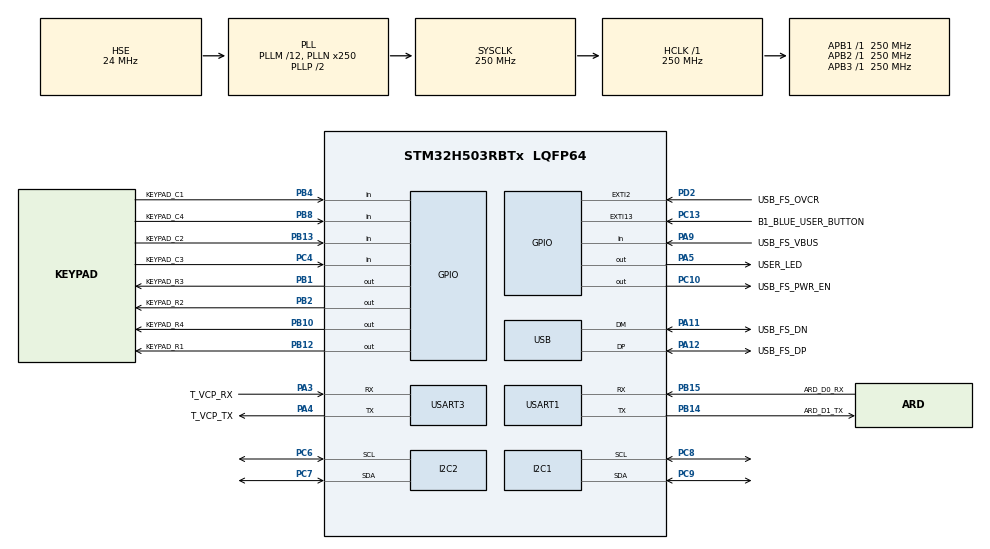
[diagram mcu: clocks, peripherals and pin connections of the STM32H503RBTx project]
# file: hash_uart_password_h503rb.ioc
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BOOTPATH.BootPathName=LEGACY
BOOTPATH.UserSelectedBootPath=LEGACY
CRC.CRCLength=CRC_POLYLENGTH_16B
CRC.DefaultInitValueUse=DEFAULT_INIT_VALUE_DISABLE
CRC.DefaultPolynomialUse=DEFAULT_POLYNOMIAL_DISABLE
CRC.GeneratingPolynomial=X15+X2+X0
CRC.InitValue=0xFFFF
CRC.InputDataInversionMode=CRC_INPUTDATA_INVERSION_BYTE
CRC.OutputDataInversionMode=CRC_OUTPUTDATA_INVERSION_ENABLE
GPDMA1.DESTINC_GPDMACH0=DMA_DINC_INCREMENTED
GPDMA1.IPHANDLE_GPDMACH0-SIMPLEREQUEST_GPDMACH0=__NULL
GPDMA1.REQUEST_GPDMACH0=GPDMA1_REQUEST_USART3_RX
HASH.Algorithm=HASH_ALGOSELECTION_SHA256
HASH.DataType=HASH_BYTE_SWAP
I2C1.Timing=0x60808CD3
I2C2.Timing=0x60808CD3
Mcu.Family=STM32H5
Mcu.Name=STM32H503RBTx
Mcu.Package=LQFP64
NVIC.GPDMA1_Channel0_IRQn=true\:0\:0\:false\:false\:true\:true\:true\:true
NVIC.HASH_IRQn=true\:0\:0\:false\:false\:true\:true\:true\:true
NVIC.PriorityGroup=NVIC_PRIORITYGROUP_4
NVIC.RNG_IRQn=true\:0\:0\:false\:false\:true\:true\:true\:true
NVIC.USART3_IRQn=true\:0\:0\:false\:false\:true\:true\:true\:true
PA11.GPIO_Label=USB_FS_DN
PA11.Mode=Device
PA11.Signal=USB_DM
PA12.GPIO_Label=USB_FS_DP
PA12.Mode=Device
PA12.Signal=USB_DP
PA13(JTMS/SWDIO).GPIO_Label=T_SWDIO
PA13(JTMS/SWDIO).Mode=JTAG_4_pins
PA13(JTMS/SWDIO).Signal=DEBUG_JTMS-SWDIO
PA14(JTCK/SWCLK).GPIO_Label=T_SWCLK
PA14(JTCK/SWCLK).Mode=JTAG_4_pins
PA14(JTCK/SWCLK).Signal=DEBUG_JTCK-SWCLK
PA15(JTDI).GPIO_Label=T_JTDI
PA15(JTDI).Mode=JTAG_4_pins
PA15(JTDI).Signal=DEBUG_JTDI
PA3.GPIO_Label=T_VCP_RX
PA3.Mode=Asynchronous
PA3.Signal=USART3_RX
PA4.GPIO_Label=T_VCP_TX
PA4.Mode=Asynchronous
PA4.Signal=USART3_TX
PA5.GPIO_Label=USER_LED
PA5.Signal=GPIO_Output
PA9.GPIO_Label=USB_FS_VBUS
PA9.Signal=GPIO_Input
PB1.GPIO_Label=KEYPAD_R3
PB1.Signal=GPIO_Output
PB10.GPIO_Label=KEYPAD_R4
PB10.Signal=GPIO_Output
PB12.GPIO_Label=KEYPAD_R1
PB12.Signal=GPIO_Output
PB13.GPIO_Label=KEYPAD_C2
PB13.GPIO_PuPd=GPIO_PULLUP
PB13.Signal=GPIO_Input
PB14.GPIO_Label=ARD_D1_TX
PB14.Mode=Asynchronous
PB14.Signal=USART1_TX
PB15.GPIO_Label=ARD_D0_RX
PB15.Mode=Asynchronous
PB15.Signal=USART1_RX
PB2.GPIO_Label=KEYPAD_R2
PB2.Signal=GPIO_Output
PB3(JTDO/TRACESWO).GPIO_Label=T_SWO
PB3(JTDO/TRACESWO).Mode=JTAG_4_pins
PB3(JTDO/TRACESWO).Signal=DEBUG_JTDO-SWO
PB4(NJTRST).GPIO_Label=KEYPAD_C1
PB4(NJTRST).GPIO_PuPd=GPIO_PULLUP
PB4(NJTRST).Signal=GPIO_Input
PB8.GPIO_Label=KEYPAD_C4
PB8.GPIO_PuPd=GPIO_PULLUP
PB8.Signal=GPIO_Input
PC10.GPIO_Label=USB_FS_PWR_EN
PC10.Signal=GPIO_Output
PC13.GPIO_Label=B1_BLUE_USER_BUTTON
PC13.Signal=GPXTI13
PC14-OSC32_IN(OSC32_IN).Mode=LSE-External-Oscillator
PC14-OSC32_IN(OSC32_IN).Signal=RCC_OSC32_IN
PC15-OSC32_OUT(OSC32_OUT).Mode=LSE-External-Oscillator
PC15-OSC32_OUT(OSC32_OUT).Signal=RCC_OSC32_OUT
PC4.GPIO_Label=KEYPAD_C3
PC4.GPIO_PuPd=GPIO_PULLUP
PC4.Signal=GPIO_Input
PC6.GPIO_Pu=GPIO_PULLUP
PC6.Mode=I2C
PC6.Signal=I2C2_SCL
PC7.GPIO_Pu=GPIO_PULLUP
PC7.Mode=I2C
PC7.Signal=I2C2_SDA
PC8.GPIO_Pu=GPIO_PULLUP
PC8.Mode=I2C
PC8.Signal=I2C1_SCL
PC9.GPIO_Pu=GPIO_PULLUP
PC9.Mode=I2C
PC9.Signal=I2C1_SDA
PD2.GPIO_Label=USB_FS_OVCR
PD2.Signal=GPXTI2
PH0-OSC_IN(PH0).Mode=HSE-External-Oscillator
PH0-OSC_IN(PH0).Signal=RCC_OSC_IN
PH1-OSC_OUT(PH1).Mode=HSE-External-Oscillator
PH1-OSC_OUT(PH1).Signal=RCC_OSC_OUT
ProjectManager.HeapSize=0x200
ProjectManager.StackSize=0x400
ProjectManager.TargetToolchain=STM32CubeIDE
RCC.ADCFreq_Value=250000000
RCC.AHBFreq_Value=250000000
RCC.APB1Freq_Value=250000000
RCC.APB1TimFreq_Value=250000000
RCC.APB2Freq_Value=250000000
RCC.APB2TimFreq_Value=250000000
RCC.APB3Freq_Value=250000000
RCC.CSI_VALUE=4000000
RCC.CortexFreq_Value=250000000
RCC.EPOD_VALUE=24000000
RCC.HCLKFreq_Value=250000000
RCC.HSE_VALUE=24000000
RCC.HSI48_VALUE=48000000
RCC.HSIDiv=RCC_HSI_DIV1
RCC.HSI_VALUE=64000000
RCC.LSIRC_VALUE=32000
RCC.PLLM=12
RCC.PLLN=250
RCC.PLLSourceVirtual=RCC_PLL1_SOURCE_HSE
RCC.SYSCLKFreq_VALUE=250000000
RCC.SYSCLKSource=RCC_SYSCLKSOURCE_PLLCLK
RCC.USBFreq_Value=48000000
RCC.VCOOutputFreq_Value=500000000
USART1.VirtualMode=VM_ASYNC
USART1.VirtualMode-Asynchronous=VM_ASYNC
USART3.VirtualMode=VM_ASYNC
USART3.VirtualMode-Asynchronous=VM_ASYNC
USB.VirtualMode=Device_Only
VP_BOOTPATH_VS_BOOTPATH.Mode=BP_Activate
VP_CORTEX_M33_NS_VS_Hclk.Mode=Hclk_Mode
VP_CRC_VS_CRC.Mode=CRC_Activate
VP_GPDMA1_VS_GPDMACH0.Mode=SIMPLEREQUEST_GPDMACH0
VP_HASH_VS_HASH.Mode=HASH_Activate
VP_ICACHE_VS_ICACHE.Mode=DefaultMode
VP_MEMORYMAP_VS_MEMORYMAP.Mode=CurAppReg
VP_PWR_VS_DBSignals.Mode=DisableDeadBatterySignals
VP_PWR_VS_LPOM.Mode=PowerOptimisation
VP_PWR_VS_SECSignals.Mode=Security/Privilege
VP_RNG_VS_RNG.Mode=RNG_Activate
board=NUCLEO-H503RB

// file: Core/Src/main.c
/* USER CODE BEGIN Header */
/**
 ******************************************************************************
 * @file           : main.c
 * @brief          : Main program body
 ******************************************************************************
 * @attention
 *
 * Copyright (c) 2024 STMicroelectronics.
 * All rights reserved.
 *
 * This software is licensed under terms that can be found in the LICENSE file
 * in the root directory of this software component.
 * If no LICENSE file comes with this software, it is provided AS-IS.
 *
 ******************************************************************************
 */

//#define USE_EEPROM
//#define RUN_I2C_SCANNER

/* USER CODE END Header */
#include "main.h"
#include "crc.h"
#include "gpdma.h"
#include "hash.h"
#include "i2c.h"
#include "icache.h"
#include "memorymap.h"
#include "rng.h"
#include "usart.h"
#include "usb.h"
#include "gpio.h"

/* USER CODE BEGIN Includes */
#include "stdio.h"
#include "stdlib.h"
#include "string.h"
#include "ssd1306.h"

#ifdef USE_EEPROM
#include "ee24.h"
#endif

#include "keypad4x4.h"
#include "roll_a_die.h"
/* USER CODE END Includes */

/* USER CODE BEGIN PD */
#define MAX_ROLLS 8192
#define UartRxBuf_SIZE 64
#define UartTxBuf_SIZE 64

#ifdef USE_EEPROM
#define STORE_HASH_IN_EEPROM 0
#define EEPROM_I2C_PORT hi2c1
#endif

#define DEBUG_UART_POINTER (&huart3)
#define PASSWORD_UART_POINTER (&huart3)
#define PASSWORD_UART_INSTANCE USART3
/* USER CODE END PD */

/* USER CODE BEGIN PV */

// UART
uint8_t UartRxBuf[UartRxBuf_SIZE];
uint8_t UartTxBuf[UartRxBuf_SIZE];
uint32_t UartMessageLength;
volatile uint8_t uart_data_received_flag = 0;
extern DMA_HandleTypeDef handle_GPDMA1_Channel0;

// HASH
const uint8_t StringToBeHashed[] =
		"The mediocre teacher tells. The good teacher explains. The superior teacher demonstrates. The great teacher inspires. William Arthur Ward";
// https://www.pelock.com/products/hash-calculator
const uint8_t ExpectedSHA256DigestString[65] =
		"E0B8D29E2A810BCB45F6D75FBA5AD5E1DF280045CAA115F26211D45EBA632D9F";

uint8_t ExpectedSHA256Digest[32];

const uint8_t PasswordSHA256DigestString[65] =
		"A9B4C2AD7DCB399B815F299ADF84D55215D8E3288A31D772EA349B107965CA4F"; // barteq

uint8_t PasswordSHA256Digest[32];

uint8_t SHA256Digest[32];

#ifdef USE_EEPROM
// EEPROM
EE24_HandleTypeDef ee24;
uint8_t eeprom_data_tx[64];
uint8_t eeprom_data_rx[65];
#endif

// KEYPAD
uint8_t key;

// RNG
volatile uint8_t rng_flag = 0;
uint32_t roll_count = 0;
uint32_t roll_a_die_raw;
uint32_t die_face_stats[8];
uint8_t die_face;

// OLED
char lcd_line[32];

//CRC
const uint8_t crc_input_data[] =
{ 0x31, 0x32, 0x33, 0x34, 0x35, 0x36, 0x37, 0x38, 0x39 };
uint16_t crc_result;

const uint16_t crc_expected_maxim = 0x44C2; // MAXIM 1-Wire
const uint16_t crc_final_xor_maxim = 0xFFFF;

const uint16_t crc_expected_usb = 0xB4C8; // USB
const uint16_t crc_final_xor_usb = 0xFFFF;

const uint16_t crc_expected_genibus = 0xD64E; // Grundfos GENIBUS
const uint16_t crc_final_xor_genibus = 0xFFFF;

const uint16_t crc_expected_modbus = 0x4B37; // MODBUS
const uint16_t crc_final_xor_modbus = 0x0000;

/* USER CODE END PV */

void SystemClock_Config(void);
/* USER CODE BEGIN PFP */
void Hash256String2ArrayOfBytes(const uint8_t *hash_string, uint8_t *hash_bytes);
void MX_CRC16_USB_Init(void);
void MX_CRC16_MAXIM_Init(void);
void MX_CRC16_MODBUS_Init(void);
void MX_CRC16_GENIBUS_Init(void);
void TestCrcConfigurations(void);
void I2CScanner(void);
void DisplayDieStats(void);
/* USER CODE END PFP */

int main(void)
{

	/* MCU Configuration--------------------------------------------------------*/

	/* Reset of all peripherals, Initializes the Flash interface and the Systick. */
	HAL_Init();

	/* Configure the system clock */
	SystemClock_Config();

	/* Initialize all configured peripherals */
	MX_GPIO_Init();
	MX_GPDMA1_Init();
	MX_ICACHE_Init();
	MX_USB_PCD_Init();
	MX_HASH_Init();
	MX_USART3_UART_Init();
	MX_USART1_UART_Init();
	MX_I2C1_Init();
	MX_RNG_Init();
	MX_CRC_Init();
	MX_I2C2_Init();
	/* USER CODE BEGIN 2 */

	// OLED
	ssd1306_Init();
	ssd1306_Fill(Black);
	ssd1306_SetCursor(20, 0);
	ssd1306_WriteString("ufnalski.edu.pl", Font_6x8, White);
	ssd1306_SetCursor(15, 12);
	ssd1306_WriteString("HASH, CRC and RNG", Font_6x8, White);
	ssd1306_UpdateScreen();

//	// Clear UART terminal
//	UartMessageLength = sprintf((char*) UartRxBuf, "%c[2J", 0x1B);
//	HAL_UART_Transmit(DEBUG_UART_POINTER, UartRxBuf, UartMessageLength, 100);
//	UartMessageLength = sprintf((char*) UartRxBuf, "%c[1;1H", 0x1B); // some terminals count from 0: "%c[0;0H"
//	HAL_UART_Transmit(DEBUG_UART_POINTER, UartRxBuf, UartMessageLength, 100);

	TestCrcConfigurations();

#ifdef RUN_I2C_SCANNER
	I2CScanner();
#endif

#ifdef USE_EEPROM
	// EEPROM and HASH
	if (!EE24_Init(&ee24, &EEPROM_I2C_PORT, EE24_ADDRESS_DEFAULT))
	{
		HAL_UART_Transmit(DEBUG_UART_POINTER, (uint8_t*) "EEPROM not OK!!!\r\n",
				strlen("EEPROM not OK!!!\r\n"), 100);
		while (1)
		{
			Error_Handler();
		}
	}
	else
	{
		HAL_UART_Transmit(DEBUG_UART_POINTER, (uint8_t*) "\r\n\r\r",
				strlen("\r\n\r\r"), 100);
	}

#if (STORE_HASH_IN_EEPROM)

	if (EE24_Write(&ee24, 0, (uint8_t*) ExpectedSHA256DigestString, 64, 1000))
	{
		HAL_UART_Transmit(DEBUG_UART_POINTER,
				(uint8_t*) "Hash successfully stored in EEPROM\r\n",
				strlen("Hash successfully stored in EEPROM\r\n"), 100);
	}
	else
	{
		HAL_UART_Transmit(DEBUG_UART_POINTER,
				(uint8_t*) "Problem with storing hash in EEPROM!!!\r\n",
				strlen("Problem with storing hash in EEPROM!!!\r\n"), 100);
	}
#endif
#endif

	HAL_UARTEx_ReceiveToIdle_DMA(PASSWORD_UART_POINTER, UartRxBuf,
	UartRxBuf_SIZE);
	__HAL_DMA_DISABLE_IT(&handle_GPDMA1_Channel0, DMA_IT_HT);

#ifdef USE_EEPROM
	if (EE24_Read(&ee24, 0, eeprom_data_rx, 64, 1000))
	{
		HAL_UART_Transmit(DEBUG_UART_POINTER,
				(uint8_t*) "Hash successfully retrieved from EEPROM.\r\n\r\n",
				strlen("Hash successfully retrieved from EEPROM.\r\n\r\n"),
				100);
		eeprom_data_rx[64] = '\0';
	}
	else
	{
		HAL_UART_Transmit(DEBUG_UART_POINTER,
				(uint8_t*) "Problem with retrieving hash from EEPROM!!!\r\n",
				strlen("Problem with retrieving hash from EEPROM!!!"), 100);
	}

	Hash256String2ArrayOfBytes(eeprom_data_rx, ExpectedSHA256Digest);
#else
	Hash256String2ArrayOfBytes(ExpectedSHA256DigestString,
			ExpectedSHA256Digest);
#endif

	HAL_UART_Transmit(DEBUG_UART_POINTER, StringToBeHashed,
			strlen((char const*) StringToBeHashed), 100);
	HAL_UART_Transmit(DEBUG_UART_POINTER, (uint8_t*) "\r\n", strlen("\r\n"),
			100);

#ifdef USE_EEPROM
	HAL_UART_Transmit(DEBUG_UART_POINTER, eeprom_data_rx,
			strlen((char const*) eeprom_data_rx), 100);
	HAL_UART_Transmit(DEBUG_UART_POINTER, (uint8_t*) "\r\n", strlen("\r\n"),
			100);
#endif

	HAL_HASH_Start(&hhash, StringToBeHashed,
			strlen((char const*) StringToBeHashed), SHA256Digest, 100);

	if (memcmp(SHA256Digest, ExpectedSHA256Digest, 32) == 0)
	{
		HAL_UART_Transmit(DEBUG_UART_POINTER, (uint8_t*) "Hash OK.\r\n",
				strlen("Hash OK.\r\n"), 100);
	}
	else
	{
		HAL_UART_Transmit(DEBUG_UART_POINTER, (uint8_t*) "Hash not OK.\r\n",
				strlen("Hash not OK.\r\n"), 100);
	}

	HAL_UART_Transmit(DEBUG_UART_POINTER, (uint8_t*) "\r\n", strlen("\r\n"),
			100);

	// RNG
	HAL_RNG_GenerateRandomNumber_IT(&hrng);

	/* USER CODE END 2 */

	/* Infinite loop */
	/* USER CODE BEGIN WHILE */

	Hash256String2ArrayOfBytes(PasswordSHA256DigestString,
			PasswordSHA256Digest);

	while (1)
	{

		key = read_keypad();
		if (key != '\0')
		{
			HAL_Delay(1000); // Just for testing in Live Expressions
		}

		if ((1 == rng_flag) && (roll_count < MAX_ROLLS))
		{
			rng_flag = 0;
			roll_count++;

			roll_a_die_raw = HAL_RNG_ReadLastRandomNumber(&hrng);
			die_face = RawRandomTo6FaceDie(roll_a_die_raw);
			AddToDieStats(&die_face_stats[0], die_face);
			HAL_RNG_GenerateRandomNumber_IT(&hrng);

			DisplayDieStats();
		}

		if (uart_data_received_flag == 1)
		{
			uart_data_received_flag = 0;

			HAL_HASH_Start(&hhash, UartRxBuf, strlen((char const*) UartRxBuf),
					SHA256Digest, 100);

			if (memcmp(SHA256Digest, PasswordSHA256Digest, 32) == 0)
			{
				HAL_UART_Transmit(PASSWORD_UART_POINTER,
						(uint8_t*) "Password OK.\r\n",
						strlen("Password OK.\r\n"), 100);
			}
			else
			{
				HAL_UART_Transmit(PASSWORD_UART_POINTER,
						(uint8_t*) "Password not OK.\r\n",
						strlen("Password not OK.\r\n"), 100);
			}
			HAL_UART_Transmit(DEBUG_UART_POINTER, (uint8_t*) "\r\n",
					strlen("\r\n"), 100);

			memset(UartRxBuf, 0, UartRxBuf_SIZE);
			HAL_UARTEx_ReceiveToIdle_DMA(PASSWORD_UART_POINTER, UartRxBuf,
			UartRxBuf_SIZE);
			__HAL_DMA_DISABLE_IT(&handle_GPDMA1_Channel0, DMA_IT_HT);
		}

		/* USER CODE END WHILE */

	}
}

void SystemClock_Config(void)
{
	RCC_OscInitTypeDef RCC_OscInitStruct =
	{ 0 };
	RCC_ClkInitTypeDef RCC_ClkInitStruct =
	{ 0 };

	/** Configure the main internal regulator output voltage
	 */
	__HAL_PWR_VOLTAGESCALING_CONFIG(PWR_REGULATOR_VOLTAGE_SCALE0);

	while (!__HAL_PWR_GET_FLAG(PWR_FLAG_VOSRDY))
	{
	}

	/** Initializes the RCC Oscillators according to the specified parameters
	 * in the RCC_OscInitTypeDef structure.
	 */
	RCC_OscInitStruct.OscillatorType = RCC_OSCILLATORTYPE_HSI48
			| RCC_OSCILLATORTYPE_HSE;
	RCC_OscInitStruct.HSEState = RCC_HSE_ON;
	RCC_OscInitStruct.HSI48State = RCC_HSI48_ON;
	RCC_OscInitStruct.PLL.PLLState = RCC_PLL_ON;
	RCC_OscInitStruct.PLL.PLLSource = RCC_PLL1_SOURCE_HSE;
	RCC_OscInitStruct.PLL.PLLM = 12;
	RCC_OscInitStruct.PLL.PLLN = 250;
	RCC_OscInitStruct.PLL.PLLP = 2;
	RCC_OscInitStruct.PLL.PLLQ = 2;
	RCC_OscInitStruct.PLL.PLLR = 2;
	RCC_OscInitStruct.PLL.PLLRGE = RCC_PLL1_VCIRANGE_1;
	RCC_OscInitStruct.PLL.PLLVCOSEL = RCC_PLL1_VCORANGE_WIDE;
	RCC_OscInitStruct.PLL.PLLFRACN = 0;
	if (HAL_RCC_OscConfig(&RCC_OscInitStruct) != HAL_OK)
	{
		Error_Handler();
	}

	/** Initializes the CPU, AHB and APB buses clocks
	 */
	RCC_ClkInitStruct.ClockType = RCC_CLOCKTYPE_HCLK | RCC_CLOCKTYPE_SYSCLK
			| RCC_CLOCKTYPE_PCLK1 | RCC_CLOCKTYPE_PCLK2 | RCC_CLOCKTYPE_PCLK3;
	RCC_ClkInitStruct.SYSCLKSource = RCC_SYSCLKSOURCE_PLLCLK;
	RCC_ClkInitStruct.AHBCLKDivider = RCC_SYSCLK_DIV1;
	RCC_ClkInitStruct.APB1CLKDivider = RCC_HCLK_DIV1;
	RCC_ClkInitStruct.APB2CLKDivider = RCC_HCLK_DIV1;
	RCC_ClkInitStruct.APB3CLKDivider = RCC_HCLK_DIV1;

	if (HAL_RCC_ClockConfig(&RCC_ClkInitStruct, FLASH_LATENCY_5) != HAL_OK)
	{
		Error_Handler();
	}

	/** Configure the programming delay
	 */
	__HAL_FLASH_SET_PROGRAM_DELAY(FLASH_PROGRAMMING_DELAY_2);
}

/* USER CODE BEGIN 4 */
void HAL_UARTEx_RxEventCallback(UART_HandleTypeDef *huart, uint16_t Size)
{
	if (huart->Instance == PASSWORD_UART_INSTANCE)
	{
		uart_data_received_flag = 1;
	}
}

void Hash256String2ArrayOfBytes(const uint8_t *hash_string, uint8_t *hash_bytes)
{
	uint8_t bb[3];
	for (uint8_t i = 0; i < 32; i++)
	{
		strncpy((char*) bb, (char*) hash_string + (2 * i), 2);
		hash_bytes[i] = (uint8_t) strtol((char*) bb, NULL, 16);
	}
}

void HAL_RNG_ReadyDataCallback(RNG_HandleTypeDef *hrng, uint32_t random32bit)
{
	rng_flag = 1;
}

void MX_CRC16_USB_Init(void)
{
	hcrc.Instance = CRC;
	hcrc.Init.DefaultPolynomialUse = DEFAULT_POLYNOMIAL_DISABLE;
	hcrc.Init.DefaultInitValueUse = DEFAULT_INIT_VALUE_DISABLE;
	hcrc.Init.GeneratingPolynomial = 0x8005;
	hcrc.Init.CRCLength = CRC_POLYLENGTH_16B;
	hcrc.Init.InitValue = 0xFFFF;
	hcrc.Init.InputDataInversionMode = CRC_INPUTDATA_INVERSION_BYTE;
	hcrc.Init.OutputDataInversionMode = CRC_OUTPUTDATA_INVERSION_ENABLE;
	hcrc.InputDataFormat = CRC_INPUTDATA_FORMAT_BYTES;
	if (HAL_CRC_Init(&hcrc) != HAL_OK)
	{
		Error_Handler();
	}
}

void MX_CRC16_MAXIM_Init(void)
{
	hcrc.Instance = CRC;
	hcrc.Init.DefaultPolynomialUse = DEFAULT_POLYNOMIAL_DISABLE;
	hcrc.Init.DefaultInitValueUse = DEFAULT_INIT_VALUE_DISABLE;
	hcrc.Init.GeneratingPolynomial = 0x8005;
	hcrc.Init.CRCLength = CRC_POLYLENGTH_16B;
	hcrc.Init.InitValue = 0x0000;
	hcrc.Init.InputDataInversionMode = CRC_INPUTDATA_INVERSION_BYTE;
	hcrc.Init.OutputDataInversionMode = CRC_OUTPUTDATA_INVERSION_ENABLE;
	hcrc.InputDataFormat = CRC_INPUTDATA_FORMAT_BYTES;
	if (HAL_CRC_Init(&hcrc) != HAL_OK)
	{
		Error_Handler();
	}
}

void MX_CRC16_MODBUS_Init(void)
{
	hcrc.Instance = CRC;
	hcrc.Init.DefaultPolynomialUse = DEFAULT_POLYNOMIAL_DISABLE;
	hcrc.Init.DefaultInitValueUse = DEFAULT_INIT_VALUE_DISABLE;
	hcrc.Init.GeneratingPolynomial = 0x8005;
	hcrc.Init.CRCLength = CRC_POLYLENGTH_16B;
	hcrc.Init.InitValue = 0xFFFF;
	hcrc.Init.InputDataInversionMode = CRC_INPUTDATA_INVERSION_BYTE;
	hcrc.Init.OutputDataInversionMode = CRC_OUTPUTDATA_INVERSION_ENABLE;
	hcrc.InputDataFormat = CRC_INPUTDATA_FORMAT_BYTES;
	if (HAL_CRC_Init(&hcrc) != HAL_OK)
	{
		Error_Handler();
	}
}

void MX_CRC16_GENIBUS_Init(void)
{
	hcrc.Instance = CRC;
	hcrc.Init.DefaultPolynomialUse = DEFAULT_POLYNOMIAL_DISABLE;
	hcrc.Init.DefaultInitValueUse = DEFAULT_INIT_VALUE_DISABLE;
	hcrc.Init.GeneratingPolynomial = 0x1021;
	hcrc.Init.CRCLength = CRC_POLYLENGTH_16B;
	hcrc.Init.InitValue = 0xFFFF;
	hcrc.Init.InputDataInversionMode = CRC_INPUTDATA_INVERSION_NONE;
	hcrc.Init.OutputDataInversionMode = CRC_OUTPUTDATA_INVERSION_DISABLE;
	hcrc.InputDataFormat = CRC_INPUTDATA_FORMAT_BYTES;
	if (HAL_CRC_Init(&hcrc) != HAL_OK)
	{
		Error_Handler();
	}
}

void TestCrcConfigurations(void)
{
	// CRC MAXIM
	MX_CRC16_MAXIM_Init();
	UartMessageLength = sprintf((char*) UartRxBuf,
			"Expected CRC16_MAXIM:   0x%04X\r\n", crc_expected_maxim);
	HAL_UART_Transmit(DEBUG_UART_POINTER, UartRxBuf, UartMessageLength, 100);
	UartMessageLength = sprintf((char*) UartRxBuf,
			"Calculated CRC16_MAXIM: 0x%04X\r\n\r\n",
			((uint16_t) HAL_CRC_Calculate(&hcrc, (uint32_t*) crc_input_data,
					sizeof(crc_input_data))) ^ crc_final_xor_maxim);
	HAL_UART_Transmit(DEBUG_UART_POINTER, UartRxBuf, UartMessageLength, 100);

	// CRC USB
	MX_CRC16_USB_Init();
	UartMessageLength = sprintf((char*) UartRxBuf,
			"Expected CRC16_USB:   0x%04X\r\n", crc_expected_usb);
	HAL_UART_Transmit(DEBUG_UART_POINTER, UartRxBuf, UartMessageLength, 100);
	UartMessageLength = sprintf((char*) UartRxBuf,
			"Calculated CRC16_USB: 0x%04X\r\n\r\n",
			((uint16_t) HAL_CRC_Calculate(&hcrc, (uint32_t*) crc_input_data,
					sizeof(crc_input_data))) ^ crc_final_xor_usb);
	HAL_UART_Transmit(DEBUG_UART_POINTER, UartRxBuf, UartMessageLength, 100);

	// CRC MODBUS
	MX_CRC16_MODBUS_Init();
	UartMessageLength = sprintf((char*) UartRxBuf,
			"Expected CRC16_MODBUS:   0x%04X\r\n", crc_expected_modbus);
	HAL_UART_Transmit(DEBUG_UART_POINTER, UartRxBuf, UartMessageLength, 100);
	UartMessageLength = sprintf((char*) UartRxBuf,
			"Calculated CRC16_MODBUS: 0x%04X\r\n\r\n",
			((uint16_t) HAL_CRC_Calculate(&hcrc, (uint32_t*) crc_input_data,
					sizeof(crc_input_data))) ^ crc_final_xor_modbus);
	HAL_UART_Transmit(DEBUG_UART_POINTER, UartRxBuf, UartMessageLength, 100);

	// CRC GENIBUS
	MX_CRC16_GENIBUS_Init();
	UartMessageLength = sprintf((char*) UartRxBuf,
			"Expected CRC16_GENIBUS:   0x%04X\r\n", crc_expected_genibus);
	HAL_UART_Transmit(DEBUG_UART_POINTER, UartRxBuf, UartMessageLength, 100);
	UartMessageLength = sprintf((char*) UartRxBuf,
			"Calculated CRC16_GENIBUS: 0x%04X\r\n\r\n",
			((uint16_t) HAL_CRC_Calculate(&hcrc, (uint32_t*) crc_input_data,
					sizeof(crc_input_data))) ^ crc_final_xor_genibus);
	HAL_UART_Transmit(DEBUG_UART_POINTER, UartRxBuf, UartMessageLength, 100);
}

void I2CScanner(void)
{
	for (uint8_t device_id = 1; device_id < 128; device_id++)
	{
		uint8_t ret = HAL_I2C_IsDeviceReady(&SSD1306_I2C_PORT,
				(uint16_t) (device_id << 1), 3, 5);
		if (ret != HAL_OK) /* No ACK received at that address */
		{
			HAL_UART_Transmit(DEBUG_UART_POINTER, (uint8_t*) ".", strlen("."),
					100);
		}
		else if (ret == HAL_OK)
		{
			uint8_t uart_msg[8];
			sprintf((char*) uart_msg, "0x%X", device_id);
			HAL_UART_Transmit(DEBUG_UART_POINTER, uart_msg,
					strlen((char*) uart_msg), 100);
		}
		HAL_Delay(25);
	}
	HAL_UART_Transmit(DEBUG_UART_POINTER, (uint8_t*) "\r\n\r\r",
			strlen("\r\n\r\r"), 100);
}

void DisplayDieStats(void)
{
	ssd1306_SetCursor(2, 25);
	sprintf(lcd_line, "[0]: %4li  [1]: %4li", die_face_stats[0],
			die_face_stats[1]);
	ssd1306_WriteString(lcd_line, Font_6x8, White);
	ssd1306_SetCursor(2, 35);
	sprintf(lcd_line, "[2]: %4li  [3]: %4li", die_face_stats[2],
			die_face_stats[3]);
	ssd1306_WriteString(lcd_line, Font_6x8, White);
	ssd1306_SetCursor(2, 45);
	sprintf(lcd_line, "[4]: %4li  [5]: %4li", die_face_stats[4],
			die_face_stats[5]);
	ssd1306_WriteString(lcd_line, Font_6x8, White);
	ssd1306_SetCursor(2, 55);
	sprintf(lcd_line, "[6]: %4li  [7]: %4li", die_face_stats[6],
			die_face_stats[7]);
	ssd1306_WriteString(lcd_line, Font_6x8, White);
	ssd1306_UpdateScreen();
}
/* USER CODE END 4 */

void Error_Handler(void)
{
	__disable_irq();
	while (1)
	{
	}
}
